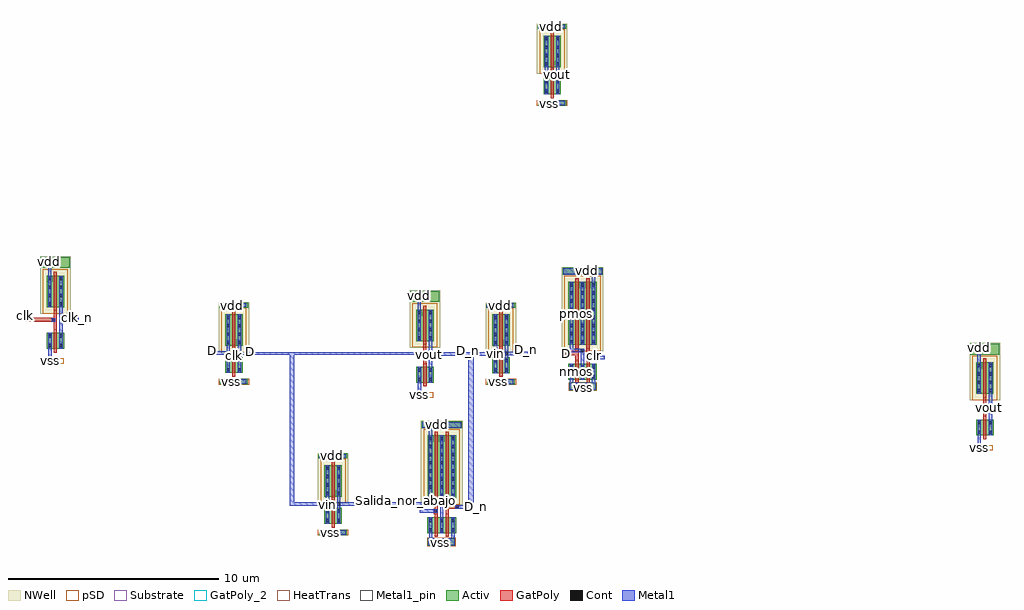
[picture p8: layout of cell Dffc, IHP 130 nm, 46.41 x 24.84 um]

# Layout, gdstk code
from math import pi, radians
import gdstk
lib = gdstk.Library(unit=1e-6, precision=1e-09)
def R(c, l, rs):  # rectangles x0, y0, x1, y1
    for r in rs: c.add(gdstk.rectangle(r[:2], r[2:], *l))
def A(c, l, x, y, w, h, nx, ny, dx, dy):  # array of equal rectangles
    R(c, l, [(x+i*dx, y+j*dy, x+i*dx+w, y+j*dy+h) for i in range(nx) for j in range(ny)])
def P(c, l, *ps):  # polygons
    for p in ps: c.add(gdstk.Polygon(p, *l))
Activ = (1, 0)
GatPoly = (5, 0)
GatPoly_2 = (5, 2)
Cont = (6, 0)
Metal1 = (8, 0)
Metal1_pin = (8, 2)
pSD = (14, 0)
NWell = (31, 0)
Substrate = (40, 0)
HeatTrans = (51, 0)

pmos_1_1 = lib.new_cell('pmos$1$1')
R(pmos_1_1, Activ, [(0,0,0.3,0.3), (0,0,0.83,3), (0.53,0,0.83,0.3)])
R(pmos_1_1, GatPoly, [(0.34,-0.18,0.49,3.18), (0.34,-0.18,0.49,3.18)])
A(pmos_1_1, Cont, 0.07, 0.07, 0.16, 0.16, 1, 7, 0, 0.385)
A(pmos_1_1, Cont, 0.6, 0.07, 0.16, 0.16, 1, 7, 0, 0.385)
R(pmos_1_1, Cont, [(0.07,2.77,0.23,2.93), (0.6,2.77,0.76,2.93)])
R(pmos_1_1, Metal1, [(0.07,0,0.23,3), (0.07,0,0.23,3), (0.6,0,0.76,3), (0.6,0,0.76,3)])
R(pmos_1_1, pSD, [(-0.18,-0.3,1.01,3.3)])
R(pmos_1_1, NWell, [(-0.31,-0.31,1.14,3.31)])
R(pmos_1_1, Substrate, [(0.53,0,0.83,0.3)])
R(pmos_1_1, HeatTrans, [(0.34,-0.18,0.49,3.18)])
pmos_1_1.add(gdstk.Label('pmos', (0.415,1.5), layer=63, texttype=0))
pmos_1_1.add(gdstk.Label('pmos', (0.415,1.5), layer=51, texttype=0))

nmos_1_1 = lib.new_cell('nmos$1$1')
R(nmos_1_1, Activ, [(0.002,0.22,0.302,0.52), (0.002,0.22,0.832,0.97), (0.532,0.22,0.832,0.52)])
R(nmos_1_1, GatPoly, [(0.342,0.04,0.492,1.15)])
R(nmos_1_1, GatPoly_2, [(0.342,0.04,0.492,1.15)])
R(nmos_1_1, Cont, [(0.072,0.29,0.232,0.45), (0.602,0.29,0.762,0.45), (0.072,0.74,0.232,0.9), (0.602,0.74,0.762,0.9)])
R(nmos_1_1, Metal1, [(0.072,0.22,0.232,0.97), (0.602,0.22,0.762,0.97)])
R(nmos_1_1, Metal1_pin, [(0.072,0.22,0.232,0.97), (0.602,0.22,0.762,0.97)])
R(nmos_1_1, HeatTrans, [(0.342,0.04,0.492,1.15)])
nmos_1_1.add(gdstk.Label('nmos', (0.417,0.595), layer=63, texttype=0))
nmos_1_1.add(gdstk.Label('nmos', (0.417,0.595), layer=51, texttype=0))

nmos_1_3 = lib.new_cell('nmos$1$3')
R(nmos_1_3, Activ, [(0,0,0.3,0.3), (0,0,0.83,0.75), (0.53,0,0.83,0.3)])
R(nmos_1_3, GatPoly, [(0.34,-0.18,0.49,0.93)])
R(nmos_1_3, GatPoly_2, [(0.34,-0.18,0.49,0.93)])
R(nmos_1_3, Cont, [(0.07,0.07,0.23,0.23), (0.6,0.07,0.76,0.23), (0.07,0.52,0.23,0.68), (0.6,0.52,0.76,0.68)])
R(nmos_1_3, Metal1, [(0.07,0,0.23,0.75), (0.6,0,0.76,0.75)])
R(nmos_1_3, Metal1_pin, [(0.07,0,0.23,0.75), (0.6,0,0.76,0.75)])
R(nmos_1_3, HeatTrans, [(0.34,-0.18,0.49,0.93)])
nmos_1_3.add(gdstk.Label('nmos', (0.415,0.375), layer=63, texttype=0))
nmos_1_3.add(gdstk.Label('nmos', (0.415,0.375), layer=51, texttype=0))

pmos_1_3 = lib.new_cell('pmos$1$3')
R(pmos_1_3, Activ, [(0,0,0.3,0.3), (0,0,0.83,1.5), (0.53,0,0.83,0.3)])
R(pmos_1_3, GatPoly, [(0.34,-0.18,0.49,1.68), (0.34,-0.18,0.49,1.68)])
A(pmos_1_3, Cont, 0.07, 0.07, 0.16, 0.16, 1, 4, 0, 0.4)
A(pmos_1_3, Cont, 0.6, 0.07, 0.16, 0.16, 1, 4, 0, 0.4)
R(pmos_1_3, Metal1, [(0.07,0,0.23,1.5), (0.07,0,0.23,1.5), (0.6,0,0.76,1.5), (0.6,0,0.76,1.5)])
R(pmos_1_3, pSD, [(-0.18,-0.3,1.01,1.8)])
R(pmos_1_3, NWell, [(-0.31,-0.31,1.14,1.81)])
R(pmos_1_3, Substrate, [(0.53,0,0.83,0.3)])
R(pmos_1_3, HeatTrans, [(0.34,-0.18,0.49,1.68)])
pmos_1_3.add(gdstk.Label('pmos', (0.415,0.75), layer=63, texttype=0))
pmos_1_3.add(gdstk.Label('pmos', (0.415,0.75), layer=51, texttype=0))

nmos_1_3_1 = lib.new_cell('nmos$1$3$1')
R(nmos_1_3_1, Activ, [(0,0,0.3,0.3), (0,0,0.83,0.75), (0.53,0,0.83,0.3)])
R(nmos_1_3_1, GatPoly, [(0.34,-0.18,0.49,0.93)])
R(nmos_1_3_1, GatPoly_2, [(0.34,-0.18,0.49,0.93)])
R(nmos_1_3_1, Cont, [(0.07,0.07,0.23,0.23), (0.6,0.07,0.76,0.23), (0.07,0.52,0.23,0.68), (0.6,0.52,0.76,0.68)])
R(nmos_1_3_1, Metal1, [(0.07,0,0.23,0.75), (0.6,0,0.76,0.75)])
R(nmos_1_3_1, Metal1_pin, [(0.07,0,0.23,0.75), (0.6,0,0.76,0.75)])
R(nmos_1_3_1, HeatTrans, [(0.34,-0.18,0.49,0.93)])
nmos_1_3_1.add(gdstk.Label('nmos', (0.415,0.375), layer=63, texttype=0))
nmos_1_3_1.add(gdstk.Label('nmos', (0.415,0.375), layer=51, texttype=0))

pmos_1_3_1 = lib.new_cell('pmos$1$3$1')
R(pmos_1_3_1, Activ, [(0,0,0.3,0.3), (0,0,0.83,1.5), (0.53,0,0.83,0.3)])
R(pmos_1_3_1, GatPoly, [(0.34,-0.18,0.49,1.68), (0.34,-0.18,0.49,1.68)])
A(pmos_1_3_1, Cont, 0.07, 0.07, 0.16, 0.16, 1, 4, 0, 0.4)
A(pmos_1_3_1, Cont, 0.6, 0.07, 0.16, 0.16, 1, 4, 0, 0.4)
R(pmos_1_3_1, Metal1, [(0.07,0,0.23,1.5), (0.07,0,0.23,1.5), (0.6,0,0.76,1.5), (0.6,0,0.76,1.5)])
R(pmos_1_3_1, pSD, [(-0.18,-0.3,1.01,1.8)])
R(pmos_1_3_1, NWell, [(-0.31,-0.31,1.14,1.81)])
R(pmos_1_3_1, Substrate, [(0.53,0,0.83,0.3)])
R(pmos_1_3_1, HeatTrans, [(0.34,-0.18,0.49,1.68)])
pmos_1_3_1.add(gdstk.Label('pmos', (0.415,0.75), layer=63, texttype=0))
pmos_1_3_1.add(gdstk.Label('pmos', (0.415,0.75), layer=51, texttype=0))

nmos_1_3_1_1 = lib.new_cell('nmos$1$3$1$1')
R(nmos_1_3_1_1, Activ, [(5.014,-1.666,5.314,-1.366), (5.014,-1.666,5.844,-0.916), (5.544,-1.666,5.844,-1.366)])
R(nmos_1_3_1_1, GatPoly, [(5.354,-1.846,5.504,-0.736)])
R(nmos_1_3_1_1, GatPoly_2, [(5.354,-1.846,5.504,-0.736)])
R(nmos_1_3_1_1, Cont, [(5.084,-1.596,5.244,-1.436), (5.614,-1.596,5.774,-1.436), (5.084,-1.146,5.244,-0.986), (5.614,-1.146,5.774,-0.986)])
R(nmos_1_3_1_1, Metal1, [(5.084,-1.666,5.244,-0.916), (5.614,-1.666,5.774,-0.916)])
R(nmos_1_3_1_1, Metal1_pin, [(5.084,-1.666,5.244,-0.916), (5.614,-1.666,5.774,-0.916)])
R(nmos_1_3_1_1, HeatTrans, [(5.354,-1.846,5.504,-0.736)])
nmos_1_3_1_1.add(gdstk.Label('nmos', (5.429,-1.291), layer=63, texttype=0))
nmos_1_3_1_1.add(gdstk.Label('nmos', (5.429,-1.291), layer=51, texttype=0))

pmos_1_3_1_1 = lib.new_cell('pmos$1$3$1$1')
R(pmos_1_3_1_1, Activ, [(5.014,-1.666,5.314,-1.366), (5.014,-1.666,5.844,-0.166), (5.544,-1.666,5.844,-1.366)])
R(pmos_1_3_1_1, GatPoly, [(5.354,-1.846,5.504,0.014), (5.354,-1.846,5.504,0.014)])
A(pmos_1_3_1_1, Cont, 5.084, -1.596, 0.16, 0.16, 1, 4, 0, 0.4)
A(pmos_1_3_1_1, Cont, 5.614, -1.596, 0.16, 0.16, 1, 4, 0, 0.4)
R(pmos_1_3_1_1, Metal1, [(5.084,-1.666,5.244,-0.166), (5.084,-1.666,5.244,-0.166), (5.614,-1.666,5.774,-0.166), (5.614,-1.666,5.774,-0.166)])
R(pmos_1_3_1_1, pSD, [(4.834,-1.966,6.024,0.134)])
R(pmos_1_3_1_1, NWell, [(4.704,-1.976,6.154,0.144)])
R(pmos_1_3_1_1, Substrate, [(5.544,-1.666,5.844,-1.366)])
R(pmos_1_3_1_1, HeatTrans, [(5.354,-1.846,5.504,0.014)])
pmos_1_3_1_1.add(gdstk.Label('pmos', (5.429,-0.916), layer=63, texttype=0))
pmos_1_3_1_1.add(gdstk.Label('pmos', (5.429,-0.916), layer=51, texttype=0))

nmos_3_1_1 = lib.new_cell('nmos$3$1$1')
R(nmos_3_1_1, Activ, [(0,0,0.3,0.3), (0,0,0.83,0.75), (0.53,0,0.83,0.3)])
R(nmos_3_1_1, GatPoly, [(0.34,-0.18,0.49,0.93)])
R(nmos_3_1_1, GatPoly_2, [(0.34,-0.18,0.49,0.93)])
R(nmos_3_1_1, Cont, [(0.07,0.07,0.23,0.23), (0.6,0.07,0.76,0.23), (0.07,0.52,0.23,0.68), (0.6,0.52,0.76,0.68)])
R(nmos_3_1_1, Metal1, [(0.07,0,0.23,0.75), (0.6,0,0.76,0.75)])
R(nmos_3_1_1, Metal1_pin, [(0.07,0,0.23,0.75), (0.6,0,0.76,0.75)])
R(nmos_3_1_1, HeatTrans, [(0.34,-0.18,0.49,0.93)])
nmos_3_1_1.add(gdstk.Label('nmos', (0.415,0.375), layer=63, texttype=0))
nmos_3_1_1.add(gdstk.Label('nmos', (0.415,0.375), layer=51, texttype=0))

pmos_3_1_1 = lib.new_cell('pmos$3$1$1')
R(pmos_3_1_1, Activ, [(0,0,0.3,0.3), (0,0,0.83,1.5), (0.53,0,0.83,0.3)])
R(pmos_3_1_1, GatPoly, [(0.34,-0.18,0.49,1.68), (0.34,-0.18,0.49,1.68)])
A(pmos_3_1_1, Cont, 0.07, 0.07, 0.16, 0.16, 1, 4, 0, 0.4)
A(pmos_3_1_1, Cont, 0.6, 0.07, 0.16, 0.16, 1, 4, 0, 0.4)
R(pmos_3_1_1, Metal1, [(0.07,0,0.23,1.5), (0.07,0,0.23,1.5), (0.6,0,0.76,1.5), (0.6,0,0.76,1.5)])
R(pmos_3_1_1, pSD, [(-0.18,-0.3,1.01,1.8)])
R(pmos_3_1_1, NWell, [(-0.31,-0.31,1.14,1.81)])
R(pmos_3_1_1, Substrate, [(0.53,0,0.83,0.3)])
R(pmos_3_1_1, HeatTrans, [(0.34,-0.18,0.49,1.68)])
pmos_3_1_1.add(gdstk.Label('pmos', (0.415,0.75), layer=63, texttype=0))
pmos_3_1_1.add(gdstk.Label('pmos', (0.415,0.75), layer=51, texttype=0))

nmos_3_1_1_1 = lib.new_cell('nmos$3$1$1$1')
R(nmos_3_1_1_1, Activ, [(-6.16,-0.009,-5.86,0.291), (-6.16,-0.009,-5.33,0.741), (-5.63,-0.009,-5.33,0.291)])
R(nmos_3_1_1_1, GatPoly, [(-5.82,-0.189,-5.67,0.921)])
R(nmos_3_1_1_1, GatPoly_2, [(-5.82,-0.189,-5.67,0.921)])
R(nmos_3_1_1_1, Cont, [(-6.09,0.061,-5.93,0.221), (-5.56,0.061,-5.4,0.221), (-6.09,0.511,-5.93,0.671), (-5.56,0.511,-5.4,0.671)])
R(nmos_3_1_1_1, Metal1, [(-6.09,-0.009,-5.93,0.741), (-5.56,-0.009,-5.4,0.741)])
R(nmos_3_1_1_1, Metal1_pin, [(-6.09,-0.009,-5.93,0.741), (-5.56,-0.009,-5.4,0.741)])
R(nmos_3_1_1_1, HeatTrans, [(-5.82,-0.189,-5.67,0.921)])
nmos_3_1_1_1.add(gdstk.Label('nmos', (-5.745,0.366), layer=63, texttype=0))
nmos_3_1_1_1.add(gdstk.Label('nmos', (-5.745,0.366), layer=51, texttype=0))

pmos_3_1_1_1 = lib.new_cell('pmos$3$1$1$1')
R(pmos_3_1_1_1, Activ, [(-6.16,-0.009,-5.86,0.291), (-6.16,-0.009,-5.33,1.491), (-5.63,-0.009,-5.33,0.291)])
R(pmos_3_1_1_1, GatPoly, [(-5.82,-0.189,-5.67,1.671), (-5.82,-0.189,-5.67,1.671)])
A(pmos_3_1_1_1, Cont, -6.09, 0.061, 0.16, 0.16, 1, 4, 0, 0.4)
A(pmos_3_1_1_1, Cont, -5.56, 0.061, 0.16, 0.16, 1, 4, 0, 0.4)
R(pmos_3_1_1_1, Metal1, [(-6.09,-0.009,-5.93,1.491), (-6.09,-0.009,-5.93,1.491), (-5.56,-0.009,-5.4,1.491), (-5.56,-0.009,-5.4,1.491)])
R(pmos_3_1_1_1, pSD, [(-6.34,-0.309,-5.15,1.791)])
R(pmos_3_1_1_1, NWell, [(-6.47,-0.319,-5.02,1.801)])
R(pmos_3_1_1_1, Substrate, [(-5.63,-0.009,-5.33,0.291)])
R(pmos_3_1_1_1, HeatTrans, [(-5.82,-0.189,-5.67,1.671)])
pmos_3_1_1_1.add(gdstk.Label('pmos', (-5.745,0.741), layer=63, texttype=0))
pmos_3_1_1_1.add(gdstk.Label('pmos', (-5.745,0.741), layer=51, texttype=0))

pmos_3 = lib.new_cell('pmos$3')
R(pmos_3, Activ, [(0,0,0.3,0.3), (0,0,0.83,1.5), (0.53,0,0.83,0.3)])
R(pmos_3, GatPoly, [(0.34,-0.18,0.49,1.68), (0.34,-0.18,0.49,1.68)])
A(pmos_3, Cont, 0.07, 0.07, 0.16, 0.16, 1, 4, 0, 0.4)
A(pmos_3, Cont, 0.6, 0.07, 0.16, 0.16, 1, 4, 0, 0.4)
R(pmos_3, Metal1, [(0.07,0,0.23,1.5), (0.07,0,0.23,1.5), (0.6,0,0.76,1.5), (0.6,0,0.76,1.5)])
R(pmos_3, pSD, [(-0.18,-0.3,1.01,1.8)])
R(pmos_3, NWell, [(-0.31,-0.31,1.14,1.81)])
R(pmos_3, Substrate, [(0.53,0,0.83,0.3)])
R(pmos_3, HeatTrans, [(0.34,-0.18,0.49,1.68)])
pmos_3.add(gdstk.Label('pmos', (0.415,0.75), layer=63, texttype=0))
pmos_3.add(gdstk.Label('pmos', (0.415,0.75), layer=51, texttype=0))

nmos_3 = lib.new_cell('nmos$3')
R(nmos_3, Activ, [(0,0,0.3,0.3), (0,0,0.83,0.75), (0.53,0,0.83,0.3)])
R(nmos_3, GatPoly, [(0.34,-0.18,0.49,0.93)])
R(nmos_3, GatPoly_2, [(0.34,-0.18,0.49,0.93)])
R(nmos_3, Cont, [(0.07,0.07,0.23,0.23), (0.6,0.07,0.76,0.23), (0.07,0.52,0.23,0.68), (0.6,0.52,0.76,0.68)])
R(nmos_3, Metal1, [(0.07,0,0.23,0.75), (0.6,0,0.76,0.75)])
R(nmos_3, Metal1_pin, [(0.07,0,0.23,0.75), (0.6,0,0.76,0.75)])
R(nmos_3, HeatTrans, [(0.34,-0.18,0.49,0.93)])
nmos_3.add(gdstk.Label('nmos', (0.415,0.375), layer=63, texttype=0))
nmos_3.add(gdstk.Label('nmos', (0.415,0.375), layer=51, texttype=0))

pmos_3_1 = lib.new_cell('pmos$3$1')
R(pmos_3_1, Activ, [(-10.251,-14.771,-9.951,-14.471), (-10.251,-14.771,-9.421,-13.271), (-9.721,-14.771,-9.421,-14.471)])
R(pmos_3_1, GatPoly, [(-9.911,-14.951,-9.761,-13.091), (-9.911,-14.951,-9.761,-13.091)])
A(pmos_3_1, Cont, -10.181, -14.701, 0.16, 0.16, 1, 4, 0, 0.4)
A(pmos_3_1, Cont, -9.651, -14.701, 0.16, 0.16, 1, 4, 0, 0.4)
R(pmos_3_1, Metal1, [(-10.181,-14.771,-10.021,-13.271), (-10.181,-14.771,-10.021,-13.271), (-9.651,-14.771,-9.491,-13.271), (-9.651,-14.771,-9.491,-13.271)])
R(pmos_3_1, pSD, [(-10.431,-15.071,-9.241,-12.971)])
R(pmos_3_1, NWell, [(-10.561,-15.081,-9.111,-12.961)])
R(pmos_3_1, Substrate, [(-9.721,-14.771,-9.421,-14.471)])
R(pmos_3_1, HeatTrans, [(-9.911,-14.951,-9.761,-13.091)])
pmos_3_1.add(gdstk.Label('pmos', (-9.836,-14.021), layer=63, texttype=0))
pmos_3_1.add(gdstk.Label('pmos', (-9.836,-14.021), layer=51, texttype=0))

nmos_3_1 = lib.new_cell('nmos$3$1')
R(nmos_3_1, Activ, [(-10.251,-14.771,-9.951,-14.471), (-10.251,-14.771,-9.421,-14.021), (-9.721,-14.771,-9.421,-14.471)])
R(nmos_3_1, GatPoly, [(-9.911,-14.951,-9.761,-13.841)])
R(nmos_3_1, GatPoly_2, [(-9.911,-14.951,-9.761,-13.841)])
R(nmos_3_1, Cont, [(-10.181,-14.701,-10.021,-14.541), (-9.651,-14.701,-9.491,-14.541), (-10.181,-14.251,-10.021,-14.091), (-9.651,-14.251,-9.491,-14.091)])
R(nmos_3_1, Metal1, [(-10.181,-14.771,-10.021,-14.021), (-9.651,-14.771,-9.491,-14.021)])
R(nmos_3_1, Metal1_pin, [(-10.181,-14.771,-10.021,-14.021), (-9.651,-14.771,-9.491,-14.021)])
R(nmos_3_1, HeatTrans, [(-9.911,-14.951,-9.761,-13.841)])
nmos_3_1.add(gdstk.Label('nmos', (-9.836,-14.396), layer=63, texttype=0))
nmos_3_1.add(gdstk.Label('nmos', (-9.836,-14.396), layer=51, texttype=0))

pmos_1_1_1 = lib.new_cell('pmos$1$1$1')

nmos_1_1_1 = lib.new_cell('nmos$1$1$1')

dffc = lib.new_cell('Dffc')
R(dffc, Activ, [(-4.16,-3.948,-2.875,-3.583), (-9.327,-3.438,-8.012,-3.183), (-9.367,0.212,-7.992,0.442), (21.869,0.649,22.504,0.819), (-4.461,1.649,-2.561,1.964), (-4.754,3.152,-4.119,3.322), (2.564,3.449,3.849,3.814), (-1.348,3.725,-0.033,3.98), (-14.051,3.733,-12.736,3.988), (2.51,3.954,3.34,4.704), (3.04,3.954,3.87,4.704), (2.51,4.404,2.81,4.704), (3.04,4.404,3.34,4.704), (3.04,4.404,3.34,4.704), (3.57,4.404,3.87,4.704), (-22.323,4.767,-21.688,4.937), (21.624,5.144,23.009,5.649), (2.508,5.604,3.338,8.604), (3.038,5.604,3.868,8.604), (-1.388,7.375,-0.013,7.605), (-14.091,7.383,-12.716,7.613), (-4.999,7.647,-3.614,8.152), (2.508,8.304,2.808,8.604), (3.038,8.304,3.338,8.604), (3.038,8.304,3.338,8.604), (3.568,8.304,3.868,8.604), (2.248,8.949,4.148,9.264), (-22.568,9.262,-21.183,9.767), (1.089,16.979,2.404,17.234), (1.049,20.629,2.424,20.859)])
R(dffc, GatPoly, [(22.239,2.209,22.389,3.099), (22.129,2.589,22.299,2.759), (2.85,3.774,3,4.884), (3.38,3.774,3.53,4.884), (-4.384,4.712,-4.234,5.602), (-4.494,5.092,-4.324,5.262), (2.848,5.424,2.998,8.784), (2.848,5.424,2.998,8.784), (3.378,5.424,3.528,8.784), (3.378,5.424,3.528,8.784)])
P(dffc, GatPoly, [(-21.953,6.327),(-21.953,6.704),(-23.367,6.704),(-23.367,6.894),(-21.953,6.894),(-21.953,7.217),(-21.803,7.217),(-21.803,6.327)],
  [(-3.312,-2.428),(-3.312,-2.178),(-3.311,-2.178),(-3.311,-1.876),(-3.161,-1.876),(-3.161,-2.006),(-2.691,-2.006),(-2.691,-2.196),(-3.162,-2.196),(-3.162,-2.428)],
  [(-3.881,-2.441),(-3.881,-2.193),(-3.846,-2.193),(-3.846,-2.006),(-3.841,-2.006),(-3.841,-1.876),(-3.691,-1.876),(-3.691,-2.421),(-3.692,-2.421),(-3.692,-2.441)],
  [(3.379,4.859),(3.379,4.879),(3.378,4.879),(3.378,5.424),(3.528,5.424),(3.528,5.294),(3.533,5.294),(3.533,5.107),(3.568,5.107),(3.568,4.859)],
  [(2.849,4.872),(2.849,5.104),(2.378,5.104),(2.378,5.294),(2.848,5.294),(2.848,5.424),(2.998,5.424),(2.998,5.122),(2.999,5.122),(2.999,4.872)])
R(dffc, GatPoly_2, [(-3.876,-2.421,-3.695,-2.198), (-2.862,-2.176,-2.702,-2.016), (-8.742,-2.118,-8.592,-1.973), (-8.742,-1.788,-8.592,-1.623), (2.85,3.774,3,4.884), (3.38,3.774,3.53,4.884), (3.382,4.879,3.563,5.102), (-0.763,5.045,-0.613,5.19), (-13.466,5.053,-13.316,5.198), (2.389,5.124,2.549,5.284), (-0.763,5.375,-0.613,5.54), (-13.466,5.383,-13.316,5.548), (1.674,18.299,1.824,18.444), (1.674,18.629,1.824,18.794)])
A(dffc, Cont, 2.578, 6.064, 0.16, 0.16, 1, 7, 0, 0.385)
A(dffc, Cont, 3.638, 6.064, 0.16, 0.16, 1, 7, 0, 0.385)
R(dffc, Cont, [(-3.675,-3.888,-3.465,-3.683), (-8.882,-3.393,-8.717,-3.233), (-3.867,-2.378,-3.707,-2.218), (-2.862,-2.176,-2.702,-2.016), (-9.012,-2.038,-8.852,-1.878), (-8.482,-2.038,-8.322,-1.878), (-3.581,-2.036,-3.421,-1.876), (-8.802,0.247,-8.642,0.407), (21.979,0.649,22.139,0.809), (-3.786,1.744,-3.626,1.904), (22.139,2.594,22.299,2.754), (-4.644,3.152,-4.484,3.312), (3.154,3.509,3.364,3.714), (-0.903,3.77,-0.738,3.93), (-13.606,3.778,-13.441,3.938), (2.58,4.024,2.74,4.184), (3.11,4.024,3.27,4.184), (3.11,4.024,3.27,4.184), (3.64,4.024,3.8,4.184), (2.58,4.474,2.74,4.634), (3.11,4.474,3.27,4.634), (3.11,4.474,3.27,4.634), (3.64,4.474,3.8,4.634), (-22.213,4.767,-22.053,4.927), (3.394,4.922,3.554,5.082), (-4.484,5.097,-4.324,5.257), (2.389,5.124,2.549,5.284), (-1.033,5.125,-0.873,5.285), (-0.503,5.125,-0.343,5.285), (-13.736,5.133,-13.576,5.293), (-13.206,5.133,-13.046,5.293), (3.108,5.264,3.268,5.424), (21.969,5.324,22.129,5.484), (2.578,5.674,2.738,5.834), (3.108,5.674,3.268,5.834), (3.108,5.674,3.268,5.834), (3.638,5.674,3.798,5.834), (3.108,6.064,3.268,6.224), (3.108,6.064,3.268,6.224), (3.108,6.449,3.268,6.609), (3.108,6.449,3.268,6.609), (-22.053,6.712,-21.893,6.872), (3.108,6.834,3.268,6.994), (3.108,6.834,3.268,6.994), (3.108,7.219,3.268,7.379), (3.108,7.219,3.268,7.379), (-0.823,7.41,-0.663,7.57), (-13.526,7.418,-13.366,7.578), (3.108,7.604,3.268,7.764), (3.108,7.604,3.268,7.764), (-4.654,7.827,-4.494,7.987), (3.108,7.989,3.268,8.149), (3.108,7.989,3.268,8.149), (3.108,8.374,3.268,8.534), (3.108,8.374,3.268,8.534), (3.313,9.044,3.473,9.204), (-22.223,9.442,-22.063,9.602), (1.534,17.024,1.699,17.184), (1.404,18.379,1.564,18.539), (1.934,18.379,2.094,18.539), (1.614,20.664,1.774,20.824)])
R(dffc, Metal1, [(-9.262,-3.423,-8.072,-3.203), (-4.549,-2.387,-3.706,-2.217), (-8.482,-2.163,-8.322,-1.593), (-9.337,0.237,-8.072,0.417), (21.974,0.514,22.134,1.304), (22.499,2.029,22.664,3.279), (22.134,2.589,22.304,2.759), (-4.649,3.017,-4.489,3.807), (-1.283,3.74,-0.093,3.96), (-13.986,3.748,-12.796,3.968), (2.58,3.954,2.74,4.704), (3.11,3.954,3.27,4.704), (3.11,3.954,3.27,4.704), (3.64,3.954,3.8,4.704), (-22.218,4.632,-22.058,5.422), (21.969,4.779,22.129,5.694), (3.393,4.913,4.236,5.083), (-4.489,5.092,-4.319,5.262), (2.578,5.604,2.738,8.604), (2.578,5.604,2.738,8.604), (3.108,5.604,3.268,8.604), (3.108,5.604,3.268,8.604), (3.108,5.604,3.268,8.604), (3.108,5.604,3.268,8.604), (3.638,5.604,3.798,8.604), (3.638,5.604,3.798,8.604), (-22.058,6.707,-21.888,6.877), (-4.654,7.282,-4.494,8.197), (-1.358,7.4,-0.093,7.58), (-14.061,7.408,-12.796,7.588), (-22.223,8.897,-22.063,9.812), (1.154,16.994,2.344,17.214), (1.404,18.244,1.564,18.809), (1.934,18.254,2.094,18.824), (1.079,20.654,2.344,20.834)])
P(dffc, Metal1, [(-3.581,-2.614),(-3.581,-2.036),(-8.482,-2.036),(-8.482,-1.876),(-3.051,-1.876),(-3.051,-1.696),(-2.891,-1.696),(-2.891,-2.036),(-3.421,-2.036),(-3.421,-2.614)],
  [(-9.012,-2.173),(-9.012,-2.042),(-10.722,-2.042),(-10.722,5.131),(-13.046,5.131),(-13.046,4.977),(-13.206,4.977),(-13.206,5.602),(-13.046,5.602),(-13.046,5.262),(-4.319,5.262),(-4.319,5.131),(-10.511,5.131),(-10.511,-1.877),(-9.012,-1.877),(-9.012,-1.608),(-8.852,-1.608),(-8.852,-2.173)],
  [(-21.693,6.147),(-21.693,7.397),(-21.528,7.397),(-21.528,6.887),(-20.767,6.887),(-20.767,6.685),(-21.528,6.685),(-21.528,6.147)],
  [(3.108,4.665),(3.108,5.264),(2.578,5.264),(2.578,5.639),(2.738,5.639),(2.738,5.425),(3.145,5.425),(3.145,5.424),(3.27,5.424),(3.27,4.665)],
  [(-13.736,4.998),(-13.736,5.133),(-14.441,5.133),(-14.441,5.292),(-13.736,5.292),(-13.736,5.563),(-13.576,5.563),(-13.576,4.998)],
  [(-4.14,-3.933),(-4.14,-3.598),(-4.11,-3.598),(-4.11,-3.333),(-3.95,-3.333),(-3.95,-3.598),(-3.05,-3.598),(-3.05,-3.333),(-2.89,-3.333),(-2.89,-3.933)],
  [(3.638,8.604),(3.638,8.969),(2.268,8.969),(2.268,9.239),(4.128,9.239),(4.128,8.969),(3.798,8.969),(3.798,8.604)],
  [(2.579,3.464),(2.579,4.064),(2.739,4.064),(2.739,3.799),(3.639,3.799),(3.639,4.064),(3.799,4.064),(3.799,3.799),(3.829,3.799),(3.829,3.464)],
  [(-2.862,-2.176),(-2.862,-2.016),(-2.235,-2.016),(-2.235,5.083),(-3.959,5.083),(-3.959,4.532),(-4.124,4.532),(-4.124,5.782),(-3.959,5.782),(-3.959,5.244),(-1.033,5.244),(-1.033,5.515),(-0.873,5.515),(-0.873,4.95),(-1.033,4.95),(-1.033,5.083),(-1.988,5.083),(-1.988,-2.176)],
  [(-0.503,5),(-0.503,5.57),(-0.343,5.57),(-0.343,5.285),(0.73,5.285),(0.73,5.124),(-0.343,5.124),(-0.343,5)],
  [(-4.111,1.304),(-4.111,1.669),(-4.441,1.669),(-4.441,1.939),(-2.581,1.939),(-2.581,1.669),(-3.951,1.669),(-3.951,1.304)],
  [(-4.649,3.807),(-4.649,3.807),(-4.489,3.807),(-4.489,3.807)],
  [(21.974,1.304),(21.974,1.304),(22.134,1.304),(22.134,1.304)],
  [(-22.218,5.422),(-22.218,5.422),(-22.058,5.422),(-22.058,5.422)])
R(dffc, Metal1_pin, [(-3.675,-3.888,-3.465,-3.683), (-8.882,-3.393,-8.717,-3.233), (-9.012,-2.073,-8.852,-1.863), (-8.482,-2.063,-8.322,-1.863), (-3.581,-2.036,-3.421,-1.876), (-8.802,0.247,-8.642,0.407), (21.974,0.644,22.134,0.819), (-3.786,1.749,-3.626,1.904), (22.499,2.514,22.664,2.769), (-4.649,3.147,-4.489,3.322), (3.154,3.509,3.364,3.714), (-0.903,3.77,-0.738,3.93), (-13.606,3.778,-13.441,3.938), (2.58,3.954,2.74,4.704), (3.11,3.954,3.27,4.704), (3.11,3.954,3.27,4.704), (3.64,3.954,3.8,4.704), (-22.218,4.762,-22.058,4.937), (-4.124,5.017,-3.959,5.272), (-1.033,5.09,-0.873,5.3), (-13.736,5.098,-13.576,5.308), (-0.503,5.1,-0.343,5.3), (-13.206,5.108,-13.046,5.308), (21.969,5.209,22.129,5.614), (3.108,5.264,3.268,5.424), (-21.693,6.632,-21.528,6.887), (-0.823,7.41,-0.663,7.57), (-13.526,7.418,-13.366,7.578), (-4.654,7.712,-4.494,8.117), (3.313,9.049,3.473,9.204), (-22.223,9.327,-22.063,9.732), (1.534,17.024,1.699,17.184), (1.404,18.344,1.564,18.554), (1.934,18.354,2.094,18.554), (1.614,20.664,1.774,20.824)])
R(dffc, pSD, [(-4.185,-3.968,-2.85,-3.563), (-9.392,-3.453,-7.942,-3.173), (21.844,0.599,22.704,0.844), (-4.779,3.102,-3.919,3.347), (2.539,3.429,3.874,3.834), (-1.413,3.71,0.037,3.99), (-14.116,3.718,-12.666,3.998), (-22.348,4.717,-21.488,4.962), (2.328,5.304,3.518,8.904), (2.858,5.304,4.048,8.904), (1.024,16.964,2.474,17.244)])
R(dffc, NWell, [(-9.392,0.202,-7.942,0.457), (-4.491,1.614,-2.511,1.989), (21.589,5.089,23.039,5.699), (2.198,5.294,3.648,8.914), (2.728,5.294,4.178,8.914), (-1.413,7.365,0.037,7.62), (-14.116,7.373,-12.666,7.628), (-5.034,7.592,-3.584,8.202), (2.198,8.914,4.178,9.289), (-22.603,9.207,-21.153,9.817), (1.024,20.619,2.474,20.874)])
R(dffc, Substrate, [(3.038,8.304,3.338,8.604), (3.568,8.304,3.868,8.604)])
R(dffc, HeatTrans, [(2.85,3.774,3,4.884), (3.38,3.774,3.53,4.884), (2.848,5.424,2.998,8.784), (3.378,5.424,3.528,8.784)])
dffc.add(gdstk.Reference(pmos_1_1, (-2.821,1.304), rotation=pi))
dffc.add(gdstk.Reference(nmos_1_1, (-2.821,-2.376), rotation=pi))
dffc.add(gdstk.Reference(pmos_1_1, (-3.351,1.304), rotation=pi))
dffc.add(gdstk.Reference(nmos_1_3, (-3.889,4.557), rotation=pi))
dffc.add(gdstk.Reference(pmos_1_3, (-3.894,7.282), rotation=pi))
dffc.add(gdstk.Reference(nmos_1_3_1, (22.734,2.054), rotation=pi))
dffc.add(gdstk.Reference(pmos_1_3_1, (22.729,4.779), rotation=pi))
dffc.add(gdstk.Reference(nmos_1_3_1_1, (-16.444,4.506), rotation=pi))
dffc.add(gdstk.Reference(pmos_1_3_1_1, (-16.449,7.231), rotation=pi))
dffc.add(gdstk.Reference(nmos_3_1_1, (1.334,17.519)))
dffc.add(gdstk.Reference(pmos_3_1_1, (1.334,18.809)))
dffc.add(gdstk.Reference(nmos_3_1_1_1, (-7.646,4.282)))
dffc.add(gdstk.Reference(pmos_3_1_1_1, (-7.646,5.572)))
dffc.add(gdstk.Reference(pmos_3, (-1.103,5.555)))
dffc.add(gdstk.Reference(nmos_3, (-1.103,4.265)))
dffc.add(gdstk.Reference(nmos_1_1, (-3.351,-2.376), rotation=pi))
dffc.add(gdstk.Reference(pmos_3_1, (1.169,13.163)))
dffc.add(gdstk.Reference(nmos_3_1, (1.169,11.873)))
dffc.add(gdstk.Reference(pmos_1_1_1, (2.288,8.08), x_reflection=True))
dffc.add(gdstk.Reference(nmos_1_1_1, (1.758,4.4), x_reflection=True))
dffc.add(gdstk.Reference(nmos_1_1_1, (2.288,4.4), x_reflection=True))
dffc.add(gdstk.Reference(pmos_1_1_1, (1.758,8.08), x_reflection=True))
dffc.add(gdstk.Label('D', (-14.392,5.347), layer=63, texttype=0))
dffc.add(gdstk.Label('D', (-12.581,5.286), layer=63, texttype=0))
dffc.add(gdstk.Label('clk', (-13.378,5.078), layer=63, texttype=0))
dffc.add(gdstk.Label('clk_n', (-13.388,5.436), layer=63, texttype=0))
dffc.add(gdstk.Label('clk', (-23.293,6.991), layer=63, texttype=0))
dffc.add(gdstk.Label('clk_n', (-20.807,6.921), layer=63, texttype=0))
dffc.add(gdstk.Label('Salida_nor_abajo', (-5.223,-1.797), layer=63, texttype=0))
dffc.add(gdstk.Label('D_n', (-1.861,-2.092), layer=63, texttype=0))
dffc.add(gdstk.Label('clr', (-4.073,-2.19), layer=63, texttype=0))
dffc.add(gdstk.Label('pmos', (2.923,7.104), layer=63, texttype=0))
dffc.add(gdstk.Label('pmos', (3.453,7.104), layer=63, texttype=0))
dffc.add(gdstk.Label('clr', (3.76,5.11), layer=63, texttype=0))
dffc.add(gdstk.Label('nmos', (2.925,4.329), layer=63, texttype=0))
dffc.add(gdstk.Label('nmos', (3.455,4.329), layer=63, texttype=0))
dffc.add(gdstk.Label('D_n', (-2.225,5.36), layer=63, texttype=0))
dffc.add(gdstk.Label('D_n', (0.507,5.396), layer=63, texttype=0))
dffc.add(gdstk.Label('nmos', (2.925,4.329), layer=51, texttype=0))
dffc.add(gdstk.Label('nmos', (3.455,4.329), layer=51, texttype=0))
dffc.add(gdstk.Label('pmos', (2.923,7.104), layer=51, texttype=0))
dffc.add(gdstk.Label('pmos', (3.453,7.104), layer=51, texttype=0))
dffc.add(gdstk.Label('vout', (-13.136,5.203), layer=8, texttype=2))
dffc.add(gdstk.Label('vin', (-13.666,5.188), layer=8, texttype=2))
dffc.add(gdstk.Label('vss', (-13.516,3.858), layer=8, texttype=2))
dffc.add(gdstk.Label('vdd', (-13.436,7.498), layer=8, texttype=2))
dffc.add(gdstk.Label('vdd', (-8.712,0.327), layer=8, texttype=2))
dffc.add(gdstk.Label('vss', (-8.792,-3.313), layer=8, texttype=2))
dffc.add(gdstk.Label('vin', (-8.942,-1.983), layer=8, texttype=2))
dffc.add(gdstk.Label('vout', (-8.412,-1.968), layer=8, texttype=2))
dffc.add(gdstk.Label('vout', (-21.643,6.767), layer=8, texttype=2))
dffc.add(gdstk.Label('vss', (-22.113,4.842), layer=8, texttype=2))
dffc.add(gdstk.Label('vdd', (-22.138,9.577), layer=8, texttype=2))
dffc.add(gdstk.Label('vss', (-3.555,-3.813), layer=8, texttype=2))
dffc.add(gdstk.Label('vdd', (3.403,9.119), layer=8, texttype=2))
dffc.add(gdstk.Label('out', (3.208,5.294), layer=8, texttype=2))
dffc.add(gdstk.Label('vss', (3.244,3.584), layer=8, texttype=2))
dffc.add(gdstk.Label('out', (-3.521,-2.006), layer=8, texttype=2))
dffc.add(gdstk.Label('vdd', (-3.716,1.819), layer=8, texttype=2))
dffc.add(gdstk.Label('vout', (22.549,2.649), layer=8, texttype=2))
dffc.add(gdstk.Label('vss', (22.079,0.724), layer=8, texttype=2))
dffc.add(gdstk.Label('vdd', (22.054,5.459), layer=8, texttype=2))
dffc.add(gdstk.Label('vout', (2.004,18.449), layer=8, texttype=2))
dffc.add(gdstk.Label('vin', (1.474,18.434), layer=8, texttype=2))
dffc.add(gdstk.Label('vss', (1.624,17.104), layer=8, texttype=2))
dffc.add(gdstk.Label('vdd', (1.704,20.744), layer=8, texttype=2))
dffc.add(gdstk.Label('vout', (-4.074,5.152), layer=8, texttype=2))
dffc.add(gdstk.Label('vss', (-4.544,3.227), layer=8, texttype=2))
dffc.add(gdstk.Label('vdd', (-4.569,7.962), layer=8, texttype=2))
dffc.add(gdstk.Label('vdd', (-0.733,7.49), layer=8, texttype=2))
dffc.add(gdstk.Label('vss', (-0.813,3.85), layer=8, texttype=2))
dffc.add(gdstk.Label('vin', (-0.963,5.18), layer=8, texttype=2))
dffc.add(gdstk.Label('vout', (-0.433,5.195), layer=8, texttype=2))
dffc.add(gdstk.Label('Entrada_N', (-13.366,5.128), layer=5, texttype=2))
dffc.add(gdstk.Label('Entrada_P', (-13.401,5.478), layer=5, texttype=2))
dffc.add(gdstk.Label('Entrada_P', (-8.677,-1.693), layer=5, texttype=2))
dffc.add(gdstk.Label('Entrada_N', (-8.642,-2.043), layer=5, texttype=2))
dffc.add(gdstk.Label('vin', (-21.978,6.782), layer=5, texttype=2))
dffc.add(gdstk.Label('clr', (-3.784,-2.215), layer=5, texttype=2))
dffc.add(gdstk.Label('D', (2.448,5.219), layer=5, texttype=2))
dffc.add(gdstk.Label('clr', (3.471,5.085), layer=5, texttype=2))
dffc.add(gdstk.Label('D', (-2.761,-2.081), layer=5, texttype=2))
dffc.add(gdstk.Label('vin', (22.214,2.664), layer=5, texttype=2))
dffc.add(gdstk.Label('Entrada_N', (1.774,18.374), layer=5, texttype=2))
dffc.add(gdstk.Label('Entrada_P', (1.739,18.724), layer=5, texttype=2))
dffc.add(gdstk.Label('vin', (-4.409,5.167), layer=5, texttype=2))
dffc.add(gdstk.Label('Entrada_P', (-0.698,5.47), layer=5, texttype=2))
dffc.add(gdstk.Label('Entrada_N', (-0.663,5.12), layer=5, texttype=2))

lib.write_gds('Dffc.gds')
